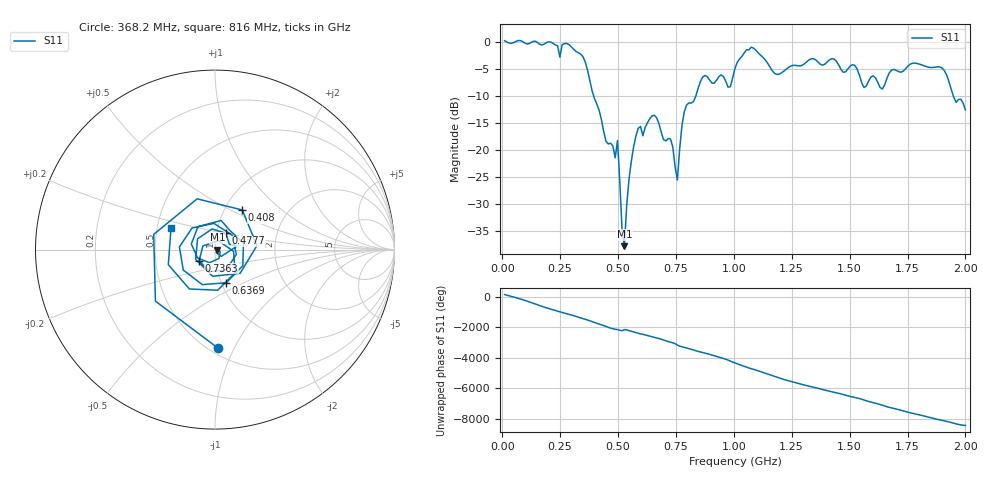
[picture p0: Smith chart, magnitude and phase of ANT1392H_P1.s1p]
!Created with skrf (http://scikit-rf.org).
# Hz S RI R 50.0
!freq ReS11 ImS11
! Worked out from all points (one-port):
!   201 points, 10 MHz to 2 GHz, reference 50 ohm
!   lowest |S11| = -37.7 dB at 527.4 MHz (marker M1), VSWR 1.03, Z = 51.3 + j0.0488 ohm
!   |S11| at or under -10 dB: 394.7 MHz to 835.8 MHz (441 MHz wide, 71.7 % of centre); 1.948 GHz to end of sweep
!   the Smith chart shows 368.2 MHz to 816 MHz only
!   S11 on the Smith chart (normalised r, x): 368.2 MHz: 0.55, -0.86; 408 MHz: 1.21, +0.57; 477.6 MHz: 1.11, +0.20; 636.9 MHz: 1.05, -0.41; 736.4 MHz: 0.83, -0.10; 816 MHz: 0.59, +0.15
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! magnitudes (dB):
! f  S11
! 10 MHz  0.2
! 258.8 MHz  -0.5
! 368.2 MHz  -5.2
! 408 MHz  -11.4
! 477.6 MHz  -19.2
! 487.6 MHz  -21.4
! 497.6 MHz  -18.2
! 507.5 MHz  -25.8
! 517.5 MHz  -35.0
! 527.4 MHz  -37.7
! 547.3 MHz  -25.4
! 567.2 MHz  -19.4
! 636.9 MHz  -14.2
! 736.4 MHz  -19.4
! 756.2 MHz  -25.5
! 786.1 MHz  -12.9
! 816 MHz  -11.3
! 865.7 MHz  -6.5
! 985.1 MHz  -8.3
! 1.005 GHz  -4.9
! 1.075 GHz  -1.0
! 1.184 GHz  -6.0
! 1.254 GHz  -4.3
! 1.502 GHz  -4.5
! 1.642 GHz  -8.7
! 1.751 GHz  -4.5
! 1.901 GHz  -4.9
! 2 GHz  -12.6
